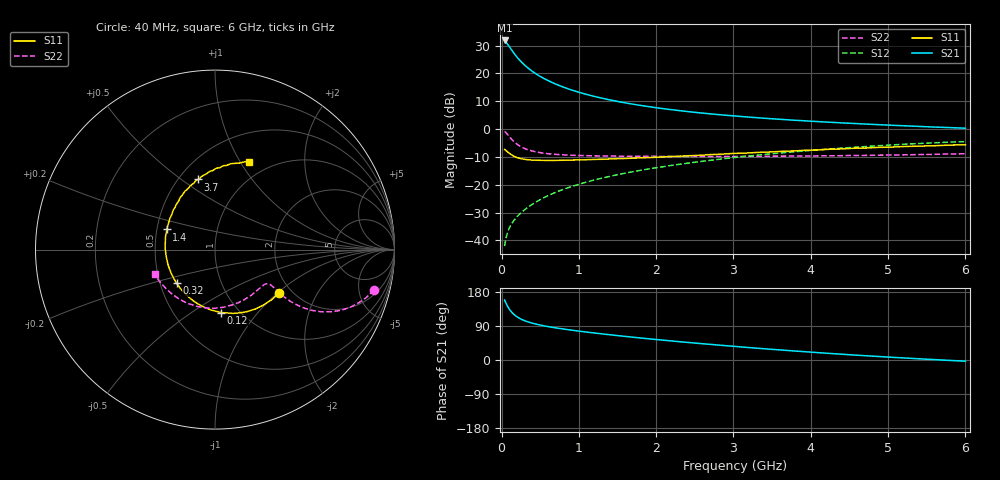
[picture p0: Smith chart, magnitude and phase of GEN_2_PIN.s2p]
! Filename:  P:\Prog\Test\Noise\ATS_data\Testdata_Net\03 Spar\BFU550A_APG2013_35_C05_03p3V_025mA_SP_CM01_D.s2p
! Date/Time: Tue 16/Apr/2013 15:10:19
! BFU550A_APG2013_35_C05_03p3V_1to35mA_SP_CM01_Bias7_R.s2p
! MDIF S-parameter v. bias file
! BFU530A_APG2013_33_A09_08p0V_015mA_SP_CM01
! Date/time Mon Apr 15 14:22:32 2013
! VAR V_out= 3.3000
! VAR I_out= 24.9950
! VAR V_in= 0.8506
! VAR I_in= 0.2843
! Device data file deembeded for feedlines and parallel
! Original file: \03 Spar\BFU550A_APG2013_35_C05_03p3V_025mA_SP_CM01_R.s2p
! Feed-files: PR017V01_150413_Feed1.s2p, PR017V01_150413_Feed2.s2p
! Parallel-file: PR017V01_150413_Par.s2p
# MHz S MA R 50
!  Freq-MHz  S11-mag  S11-arg  S21-mag  S21-arg  S12-mag  S12-arg  S22-mag  S22-arg
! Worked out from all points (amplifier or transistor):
!   98 points, 40 MHz to 6 GHz, reference 50 ohm
!   highest |S21| = 31.8 dB at 40 MHz (marker M1)
!   |S21| within 3 dB of that: start of sweep to 120.5 MHz
!   unconditionally stable (mu >= 1): 714.8 MHz to 1.685 GHz
!   at 300 MHz: K = 0.86, MSG = 26.0 dB, |S12| = -28.9 dB
!   at 1.6 GHz: K = 1.00, MAG = 12.2 dB, |S12| = -15.8 dB
!   at 6 GHz: K = 0.89, MSG = 2.4 dB, |S12| = -4.5 dB
!   S11 on the Smith chart (normalised r, x): 40 MHz: 1.73, -1.03; 120 MHz: 0.83, -0.66; 320 MHz: 0.61, -0.25; 1.4 GHz: 0.56, +0.14; 3.7 GHz: 0.62, +0.58; 6 GHz: 0.81, +1.09
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40  0.4321 -34.0  39.06 158.3  0.007907 79.7  0.9128 -14.2
60  0.4099 -49.2  36.26 149.1  0.01126 75.4  0.8562 -20.1
80  0.3891 -62.6  33.3 141.2  0.01413 72.6  0.7959 -24.7
100  0.3694 -74.1  30.4 134.5  0.01666 70.6  0.7374 -28.0
120  0.3522 -84.4  27.72 129.0  0.01888 69.4  0.6848 -30.4
140  0.338 -93.2  25.3 124.3  0.02093 68.9  0.639 -32.0
160  0.3261 -101.0  23.12 120.4  0.02294 68.5  0.6004 -33.1
200  0.3088 -113.8  19.63 114.1  0.02668 68.7  0.5381 -34.2
220  0.3026 -119.0  18.26 111.5  0.02847 69.1  0.5146 -34.4
260  0.2927 -128.2  15.92 107.1  0.03207 69.8  0.4764 -34.4
320  0.2844 -138.7  13.29 102.2  0.0375 70.9  0.4367 -34.0
440  0.2767 -153.8  9.958 95.0  0.04859 72.7  0.3915 -32.9
600  0.2738 -167.0  7.458 88.3  0.06362 74.0  0.3618 -32.4
800  0.2759 -178.7  5.677 81.8  0.08278 74.4  0.3454 -33.5
1050  0.2808 170.0  4.384 75.0  0.1071 74.1  0.3349 -36.2
1400  0.2914 157.4  3.35 66.7  0.1418 72.5  0.3281 -41.8
2050  0.3146 138.9  2.369 53.1  0.2073 68.2  0.3236 -54.8
3100  0.369 115.2  1.684 34.4  0.3183 59.1  0.3233 -79.4
3700  0.4024 103.9  1.47 25.2  0.3822 53.1  0.3269 -94.7
4100  0.4238 96.6  1.362 19.3  0.4244 48.7  0.3308 -105.7
5200  0.4867 79.5  1.149 5.5  0.5343 35.9  0.3448 -135.3
6000  0.5226 68.7  1.037 -3.1  0.5978 26.1  0.3607 -157.6
